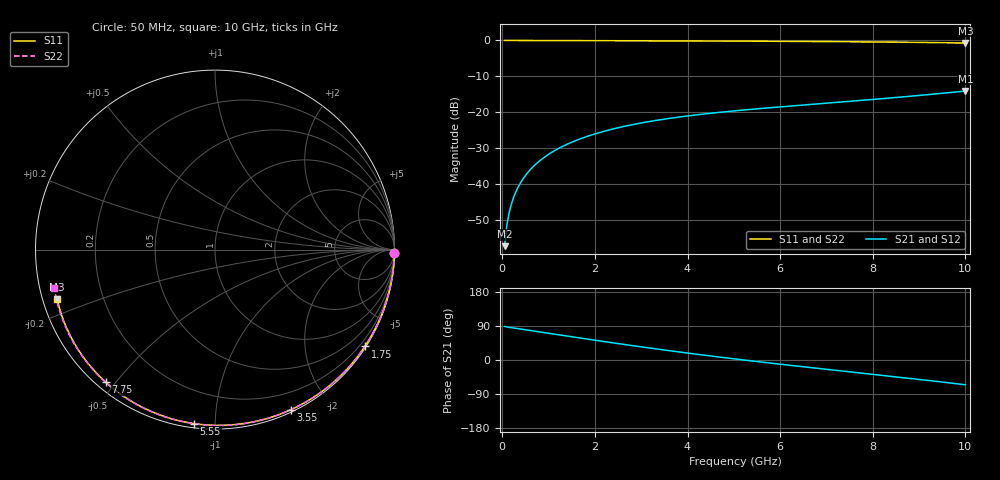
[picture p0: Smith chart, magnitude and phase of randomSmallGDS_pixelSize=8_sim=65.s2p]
! freq	dB(S11)	phase(S11)	dB(S12)	phase(S12)
!  dB(S21)	phase(S21)	dB(S22)	phase(S22)
!S-par simulation data
#  GHz  S  DB  R 50
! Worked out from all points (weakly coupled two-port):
!   200 points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, 50 MHz to 10 GHz, reference 50 ohm
!   highest |S21| = -14.13 dB at 10 GHz (marker M1); lowest = -57.4 dB at 50 MHz (marker M2)
!   lowest |S11| = -0.7 dB at 10 GHz (marker M3), VSWR 24.55, Z = 2.08 - j7.67 ohm
!   |S11| at or under -10 dB: nowhere
!   |S22| runs from -0.7 to 0.0 dB; largest |S21 - S12| = 0
!   S11 on the Smith chart (normalised r, x): 50 MHz: open; 1.75 GHz: 0.04, -3.39; 3.55 GHz: 0.02, -1.58; 5.55 GHz: 0.02, -0.89; 7.75 GHz: 0.03, -0.47; 10 GHz: 0.04, -0.15
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0.05  -0.00 -1.0  -57.41 88.5  -57.41 88.5  -0.00 -1.0
0.1  -0.00 -1.9  -51.44 87.2  -51.44 87.2  -0.00 -1.9
0.15  -0.00 -2.9  -47.98 86.1  -47.98 86.1  -0.00 -2.9
0.2  -0.00 -3.8  -45.52 85.2  -45.52 85.2  -0.00 -3.9
0.25  -0.00 -4.8  -43.62 84.3  -43.62 84.3  -0.00 -4.9
0.35  -0.01 -6.7  -40.74 82.5  -40.74 82.5  -0.01 -6.8
0.5  -0.01 -9.5  -37.69 79.8  -37.69 79.8  -0.01 -9.7
0.7  -0.02 -13.3  -34.81 76.1  -34.81 76.1  -0.02 -13.6
1  -0.03 -19.0  -31.78 70.6  -31.78 70.6  -0.03 -19.3
1.35  -0.04 -25.5  -29.27 64.1  -29.27 64.1  -0.04 -25.9
1.75  -0.05 -32.9  -27.15 56.7  -27.15 56.7  -0.05 -33.4
2.6  -0.08 -48.2  -24.07 41.6  -24.07 41.6  -0.08 -49.0
3.4  -0.11 -62.1  -22.15 28.0  -22.15 28.0  -0.11 -63.1
3.55  -0.11 -64.6  -21.86 25.5  -21.86 25.5  -0.11 -65.7
4.3  -0.14 -77.1  -20.60 13.6  -20.60 13.6  -0.15 -78.4
5.05  -0.18 -89.1  -19.60 2.4  -19.60 2.4  -0.18 -90.7
5.55  -0.21 -96.9  -19.03 -4.8  -19.03 -4.8  -0.21 -98.6
6.7  -0.29 -114.2  -17.82 -20.5  -17.82 -20.5  -0.29 -116.3
7.75  -0.38 -129.5  -16.74 -34.3  -16.74 -34.3  -0.39 -132.1
8.35  -0.45 -138.2  -16.09 -42.2  -16.09 -42.2  -0.46 -141.1
9.2  -0.57 -150.6  -15.11 -53.9  -15.11 -53.9  -0.58 -154.1
10  -0.71 -162.5  -14.13 -65.4  -14.13 -65.4  -0.72 -166.7
